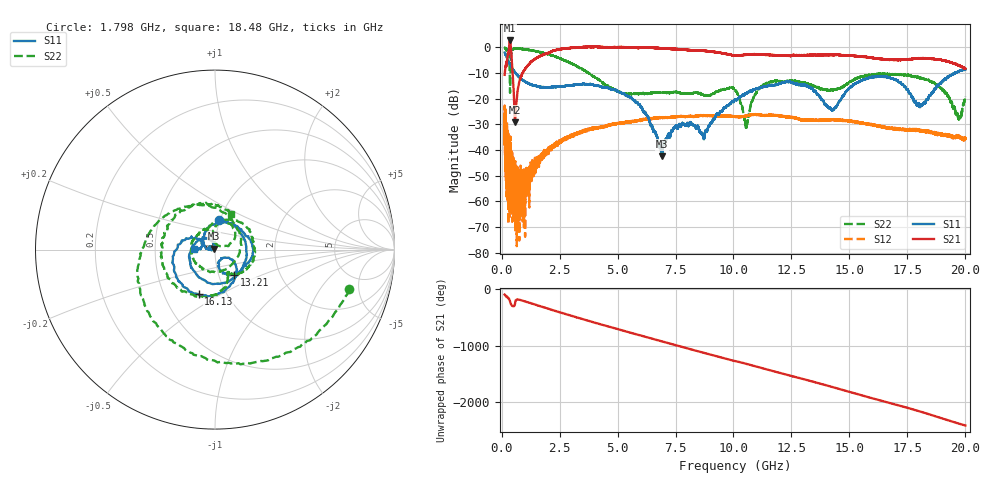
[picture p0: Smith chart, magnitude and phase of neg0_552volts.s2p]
!Created with skrf (http://scikit-rf.org).
# GHz S RI R 50.0
!freq ReS11 ImS11 ReS21 ImS21 ReS12 ImS12 ReS22 ImS22
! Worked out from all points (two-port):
!   20013 points, 130 MHz to 20 GHz, reference 50 ohm
!   highest |S21| = 2.68 dB at 356 MHz (marker M1); lowest = -29.2 dB at 581 MHz (marker M2)
!   |S21| within 3 dB of the highest: 317.1 MHz to 404.6 MHz (87.49 MHz wide, 24.2 % of centre); 2.933 GHz to 6.643 GHz (3.71 GHz wide, 77.5 % of centre)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
!   lowest |S11| = -42.5 dB at 6.919 GHz (marker M3), VSWR 1.02, Z = 49.4 + j0.479 ohm
!   |S11| at or under -10 dB: 601 MHz to 19.53 GHz (18.93 GHz wide, 188 % of centre); 19.53055 GHz to 19.53606 GHz (5.51 MHz wide, 0.0282 % of centre); 19.53711 GHz to 19.54226 GHz (5.156 MHz wide, 0.0264 % of centre)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
!   |S22| runs from -31.3 to -0.2 dB; largest |S21 - S12| = 1.4
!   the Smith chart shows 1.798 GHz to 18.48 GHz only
!   S11 on the Smith chart (normalised r, x): 1.798 GHz: 0.98, +0.34; 13.21 GHz: 1.19, -0.34; 16.13 GHz: 0.74, -0.40; 18.48 GHz: 0.79, +0.01
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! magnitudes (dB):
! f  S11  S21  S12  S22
! 130 MHz  -2.0  -10.7  -29.5  -0.2
! 356 MHz  -6.4  2.7  -38.3  -13.1
! 581 MHz  -9.7  -29.2  -66.8  -0.5
! 976 MHz  -13.2  -8.9  -51.5  -0.7
! 1.798 GHz  -15.5  -2.9  -42.4  -2.2
! 3.442 GHz  -14.5  0.0  -32.8  -8.4
! 5.623 GHz  -20.0  -0.1  -29.0  -18.2
! 6.754 GHz  -37.4  -0.3  -27.4  -17.6
! 6.919 GHz  -42.5  -0.4  -27.3  -17.6
! 8.754 GHz  -34.1  -1.4  -26.5  -18.7
! 10.06 GHz  -20.3  -3.2  -26.8  -16.5
! 10.55 GHz  -18.0  -2.9  -26.8  -31.2
! 11.29 GHz  -15.4  -2.8  -26.6  -14.6
! 13.21 GHz  -15.1  -3.1  -28.3  -14.2
! 13.38 GHz  -16.0  -3.0  -28.2  -14.7
! 14.29 GHz  -24.4  -2.9  -28.1  -16.7
! 16.13 GHz  -11.5  -4.3  -30.3  -10.5
! 16.69 GHz  -11.8  -4.7  -31.4  -10.5
! 17.98 GHz  -22.0  -4.3  -32.2  -11.6
! 18.48 GHz  -18.7  -4.4  -32.8  -13.3
! 19.73 GHz  -9.3  -7.0  -34.8  -27.5
! 20 GHz  -8.6  -8.4  -35.7  -19.0
